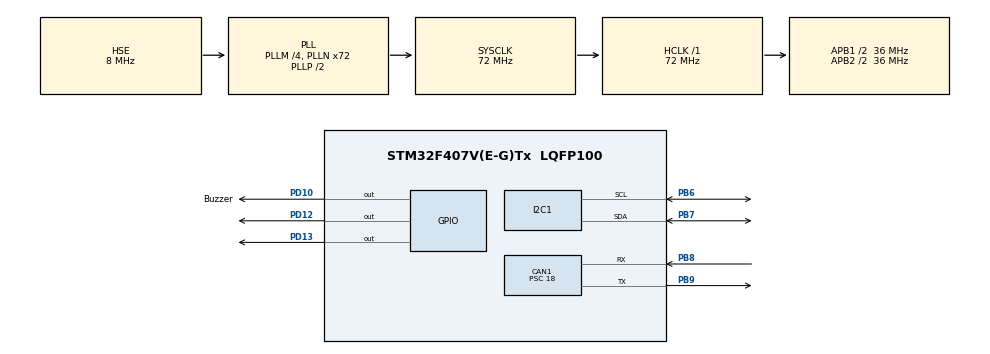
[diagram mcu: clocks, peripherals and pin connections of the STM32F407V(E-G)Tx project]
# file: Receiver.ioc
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CAN1.BS1=CAN_BS1_2TQ
CAN1.CalculateBaudRate=500000
CAN1.CalculateTimeBit=2000
CAN1.CalculateTimeQuantum=500.0
CAN1.Prescaler=18
Mcu.Family=STM32F4
Mcu.Name=STM32F407V(E-G)Tx
Mcu.Package=LQFP100
NVIC.CAN1_RX0_IRQn=true\:0\:0\:false\:false\:true\:true\:true\:true
NVIC.PriorityGroup=NVIC_PRIORITYGROUP_0
PB6.Mode=I2C
PB6.Signal=I2C1_SCL
PB7.Mode=I2C
PB7.Signal=I2C1_SDA
PB8.Mode=CAN_Activate
PB8.Signal=CAN1_RX
PB9.Mode=CAN_Activate
PB9.Signal=CAN1_TX
PD10.GPIO_Label=Buzzer
PD10.Signal=GPIO_Output
PD12.Signal=GPIO_Output
PD13.Signal=GPIO_Output
PH0-OSC_IN.Mode=HSE-External-Oscillator
PH0-OSC_IN.Signal=RCC_OSC_IN
PH1-OSC_OUT.Mode=HSE-External-Oscillator
PH1-OSC_OUT.Signal=RCC_OSC_OUT
ProjectManager.HeapSize=0x200
ProjectManager.StackSize=0x400
ProjectManager.TargetToolchain=STM32CubeIDE
RCC.48MHZClocksFreq_Value=20571428.57142857
RCC.AHBFreq_Value=72000000
RCC.APB1CLKDivider=RCC_HCLK_DIV2
RCC.APB1Freq_Value=36000000
RCC.APB1TimFreq_Value=72000000
RCC.APB2CLKDivider=RCC_HCLK_DIV2
RCC.APB2Freq_Value=36000000
RCC.APB2TimFreq_Value=72000000
RCC.CortexFreq_Value=72000000
RCC.HCLKFreq_Value=72000000
RCC.HSE_VALUE=8000000
RCC.HSI_VALUE=16000000
RCC.LSE_VALUE=32768
RCC.PLLM=4
RCC.PLLN=72
RCC.PLLQ=7
RCC.PLLSourceVirtual=RCC_PLLSOURCE_HSE
RCC.SYSCLKFreq_VALUE=72000000
RCC.SYSCLKSource=RCC_SYSCLKSOURCE_PLLCLK
RCC.VCOOutputFreq_Value=144000000
board=STM32F407G-DISC1

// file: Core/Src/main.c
/* USER CODE BEGIN Header */
/**
  ******************************************************************************
  * @file           : main.c
  * @brief          : Main program body
  ******************************************************************************
  * @attention
  *
  * Copyright (c) 2025 STMicroelectronics.
  * All rights reserved.
  *
  * This software is licensed under terms that can be found in the LICENSE file
  * in the root directory of this software component.
  * If no LICENSE file comes with this software, it is provided AS-IS.
  *
  ******************************************************************************
  */
/* USER CODE END Header */
#include "main.h"

/* USER CODE BEGIN Includes */
#include<stdio.h>
#include "i2c-lcd.h"
/* USER CODE END Includes */

CAN_HandleTypeDef hcan1;

I2C_HandleTypeDef hi2c1;

void SystemClock_Config(void);
static void MX_GPIO_Init(void);
static void MX_I2C1_Init(void);
static void MX_CAN1_Init(void);

/* USER CODE BEGIN 0 */
CAN_RxHeaderTypeDef RxHeader;
uint8_t RxData[5];
char str[20];

void HAL_CAN_RxFifo0MsgPendingCallback(CAN_HandleTypeDef *hcan)
{
	HAL_GPIO_WritePin(GPIOD, GPIO_PIN_12, GPIO_PIN_SET);//LED
	HAL_CAN_GetRxMessage(&hcan1, CAN_RX_FIFO0, &RxHeader, RxData);
}
/* USER CODE END 0 */

int main(void)
{

  /* MCU Configuration--------------------------------------------------------*/

  /* Reset of all peripherals, Initializes the Flash interface and the Systick. */
  HAL_Init();

  /* USER CODE BEGIN Init */
  //GPIO_Init();//????
  /* USER CODE END Init */

  /* Configure the system clock */
  SystemClock_Config();

  /* Initialize all configured peripherals */
  MX_GPIO_Init();
  MX_I2C1_Init();
  MX_CAN1_Init();
  /* USER CODE BEGIN 2 */
  HAL_CAN_Start(&hcan1);
  HAL_CAN_ActivateNotification(&hcan1, CAN_IT_RX_FIFO0_MSG_PENDING);
  HAL_Delay(100);
  HAL_Delay(100);

  lcd_init();
  lcd_clear();
  /* USER CODE END 2 */

  /* Infinite loop */
  /* USER CODE BEGIN WHILE */
  while (1)
  {
	  lcd_clear();
	  sprintf(str, "Temp:%d",RxData[1]);
	  lcd_send_cmd(0x80|0x00);
	  lcd_send_string(str);

	  sprintf(str,"Dist:%d",RxData[2]);
	  lcd_send_cmd(0x80|0x40);
	  lcd_send_string(str);
	  if(RxData[0] == 1)
	  {
		  HAL_GPIO_WritePin(GPIOD, GPIO_PIN_13, GPIO_PIN_SET);
	  }
	  if(RxData[0] == 0)
	  {
		  HAL_GPIO_WritePin(GPIOD, GPIO_PIN_13, GPIO_PIN_RESET);
	  }
    /* USER CODE END WHILE */

    /* USER CODE BEGIN 3 */
	  if(RxData[2] <= 7)
	  {
		  HAL_GPIO_WritePin(GPIOD, GPIO_PIN_10, GPIO_PIN_SET);
		  HAL_Delay(1000);
		  HAL_GPIO_WritePin(GPIOD, GPIO_PIN_10, GPIO_PIN_RESET);
		  HAL_Delay(1000);
	  }

	  if(RxData[1] >= 32)
	  	  {
	  		  HAL_GPIO_WritePin(GPIOD, GPIO_PIN_10, GPIO_PIN_SET);
	  		  HAL_Delay(1000);
	  		  HAL_GPIO_WritePin(GPIOD, GPIO_PIN_10, GPIO_PIN_RESET);
	  		  HAL_Delay(1000);
	  	  }
  }
  /* USER CODE END 3 */
}

void SystemClock_Config(void)
{
  RCC_OscInitTypeDef RCC_OscInitStruct = {0};
  RCC_ClkInitTypeDef RCC_ClkInitStruct = {0};

  /** Configure the main internal regulator output voltage
  */
  __HAL_RCC_PWR_CLK_ENABLE();
  __HAL_PWR_VOLTAGESCALING_CONFIG(PWR_REGULATOR_VOLTAGE_SCALE1);

  /** Initializes the RCC Oscillators according to the specified parameters
  * in the RCC_OscInitTypeDef structure.
  */
  RCC_OscInitStruct.OscillatorType = RCC_OSCILLATORTYPE_HSE;
  RCC_OscInitStruct.HSEState = RCC_HSE_ON;
  RCC_OscInitStruct.PLL.PLLState = RCC_PLL_ON;
  RCC_OscInitStruct.PLL.PLLSource = RCC_PLLSOURCE_HSE;
  RCC_OscInitStruct.PLL.PLLM = 4;
  RCC_OscInitStruct.PLL.PLLN = 72;
  RCC_OscInitStruct.PLL.PLLP = RCC_PLLP_DIV2;
  RCC_OscInitStruct.PLL.PLLQ = 7;
  if (HAL_RCC_OscConfig(&RCC_OscInitStruct) != HAL_OK)
  {
    Error_Handler();
  }

  /** Initializes the CPU, AHB and APB buses clocks
  */
  RCC_ClkInitStruct.ClockType = RCC_CLOCKTYPE_HCLK|RCC_CLOCKTYPE_SYSCLK
                              |RCC_CLOCKTYPE_PCLK1|RCC_CLOCKTYPE_PCLK2;
  RCC_ClkInitStruct.SYSCLKSource = RCC_SYSCLKSOURCE_PLLCLK;
  RCC_ClkInitStruct.AHBCLKDivider = RCC_SYSCLK_DIV1;
  RCC_ClkInitStruct.APB1CLKDivider = RCC_HCLK_DIV2;
  RCC_ClkInitStruct.APB2CLKDivider = RCC_HCLK_DIV2;

  if (HAL_RCC_ClockConfig(&RCC_ClkInitStruct, FLASH_LATENCY_2) != HAL_OK)
  {
    Error_Handler();
  }
}

static void MX_CAN1_Init(void)
{

  hcan1.Instance = CAN1;
  hcan1.Init.Prescaler = 18;
  hcan1.Init.Mode = CAN_MODE_NORMAL;
  hcan1.Init.SyncJumpWidth = CAN_SJW_1TQ;
  hcan1.Init.TimeSeg1 = CAN_BS1_2TQ;
  hcan1.Init.TimeSeg2 = CAN_BS2_1TQ;
  hcan1.Init.TimeTriggeredMode = DISABLE;
  hcan1.Init.AutoBusOff = DISABLE;
  hcan1.Init.AutoWakeUp = DISABLE;
  hcan1.Init.AutoRetransmission = DISABLE;
  hcan1.Init.ReceiveFifoLocked = DISABLE;
  hcan1.Init.TransmitFifoPriority = DISABLE;
  if (HAL_CAN_Init(&hcan1) != HAL_OK)
  {
    Error_Handler();
  }
  /* USER CODE BEGIN CAN1_Init 2 */
  CAN_FilterTypeDef canFilterConfig;
  canFilterConfig.FilterActivation = CAN_FILTER_ENABLE;
  canFilterConfig.SlaveStartFilterBank = 14;
  canFilterConfig.FilterBank = 2;
  canFilterConfig.FilterFIFOAssignment = CAN_RX_FIFO0;
  canFilterConfig.FilterScale = CAN_FILTERSCALE_32BIT;
  canFilterConfig.FilterMode = CAN_FILTERMODE_IDMASK;
  canFilterConfig.FilterMaskIdLow = 0x0000;
  canFilterConfig.FilterMaskIdHigh = 0xFF00;
  canFilterConfig.FilterIdLow = 0x0000;
  canFilterConfig.FilterIdHigh = 0x1500;
  HAL_CAN_ConfigFilter(&hcan1, &canFilterConfig);
  /* USER CODE END CAN1_Init 2 */

}

static void MX_I2C1_Init(void)
{

  hi2c1.Instance = I2C1;
  hi2c1.Init.ClockSpeed = 100000;
  hi2c1.Init.DutyCycle = I2C_DUTYCYCLE_2;
  hi2c1.Init.OwnAddress1 = 0;
  hi2c1.Init.AddressingMode = I2C_ADDRESSINGMODE_7BIT;
  hi2c1.Init.DualAddressMode = I2C_DUALADDRESS_DISABLE;
  hi2c1.Init.OwnAddress2 = 0;
  hi2c1.Init.GeneralCallMode = I2C_GENERALCALL_DISABLE;
  hi2c1.Init.NoStretchMode = I2C_NOSTRETCH_DISABLE;
  if (HAL_I2C_Init(&hi2c1) != HAL_OK)
  {
    Error_Handler();
  }

}

static void MX_GPIO_Init(void)
{
  GPIO_InitTypeDef GPIO_InitStruct = {0};

  /* GPIO Ports Clock Enable */
  __HAL_RCC_GPIOH_CLK_ENABLE();
  __HAL_RCC_GPIOD_CLK_ENABLE();
  __HAL_RCC_GPIOB_CLK_ENABLE();

  /*Configure GPIO pin Output Level */
  HAL_GPIO_WritePin(GPIOD, Buzzer_Pin|GPIO_PIN_12|GPIO_PIN_13, GPIO_PIN_RESET);

  /*Configure GPIO pins : Buzzer_Pin PD12 PD13 */
  GPIO_InitStruct.Pin = Buzzer_Pin|GPIO_PIN_12|GPIO_PIN_13;
  GPIO_InitStruct.Mode = GPIO_MODE_OUTPUT_PP;
  GPIO_InitStruct.Pull = GPIO_NOPULL;
  GPIO_InitStruct.Speed = GPIO_SPEED_FREQ_LOW;
  HAL_GPIO_Init(GPIOD, &GPIO_InitStruct);

}

void Error_Handler(void)
{
  __disable_irq();
  while (1)
  {
  }
}
